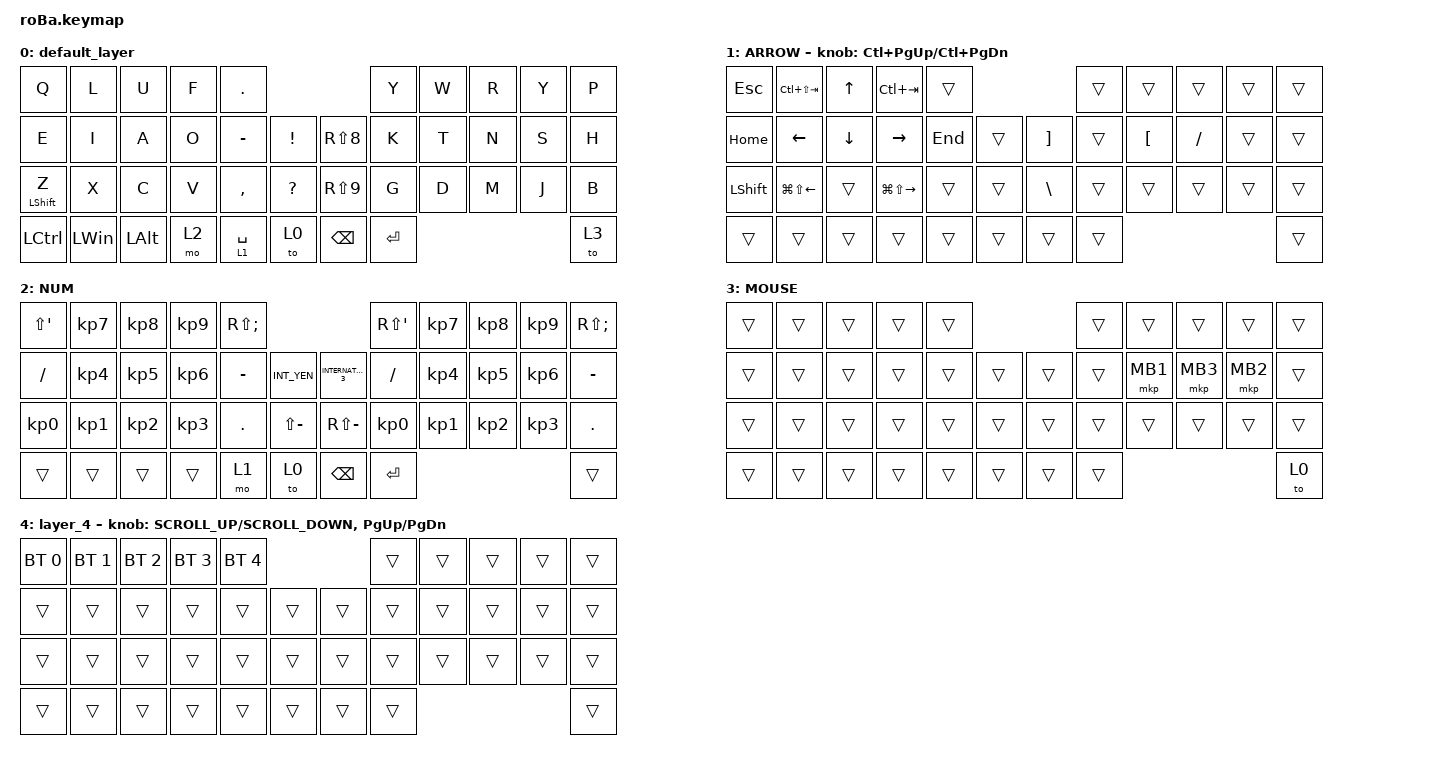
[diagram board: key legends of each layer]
#include <behaviors.dtsi>
#include <dt-bindings/zmk/bt.h>
#include <dt-bindings/zmk/keys.h>
#include <dt-bindings/zmk/pointing.h>

&mt {
    flavor = "balanced";
    quick-tap-ms = <0>;
};

&trackball {
    automouse-layer = <4>;
    scroll-layers = <5>;

    // arrows {
    //     layers = <3>;
    //     bindings =
    //         <&kp RIGHT_ARROW>,
    //         <&kp LEFT_ARROW>,
    //         <&kp UP_ARROW>,
    //         <&kp DOWN_ARROW>;
    //     tick = <10>;
    //     wait-ms = <5>;
    //     tap-ms = <5>;
    // };
};

/ {
    combos {
        compatible = "zmk,combos";

        eisuu {
            bindings = <&kp INT_MUHENKAN>;
            key-positions = <12 13>;
        };

        kana {
            bindings = <&kp INT_HENKAN>;
            key-positions = <18 19>;
        };

        laye2 {
            bindings = <&to 2>;
            key-positions = <36 37>;
        };

        layer1 {
            bindings = <&to 1>;
            key-positions = <36 38>;
        };
    };

    macros {
        to_layer_0: to_layer_0 {
            compatible = "zmk,behavior-macro-one-param";
            #binding-cells = <1>;
            bindings = <&to 0 &macro_param_1to1 &kp MACRO_PLACEHOLDER>;
            label = "TO_LAYER_0";
        };
    };

    behaviors {
        lt_to_layer_0: lt_to_layer_0 {
            compatible = "zmk,behavior-hold-tap";
            label = "LAYER_TAP_TO_0";
            bindings = <&mo>, <&to_layer_0>;

            #binding-cells = <2>;
            tapping-term-ms = <200>;
        };
    };

    keymap {
        compatible = "zmk,keymap";

        default_layer {
            bindings = <
&kp Q        &kp L         &kp U         &kp F  &kp PERIOD                                       &kp Y      &kp W  &kp R  &kp Y  &kp P
&kp E        &kp I         &kp A         &kp O  &kp MINUS    &kp EXCL          &kp RS(NUMBER_8)  &kp K      &kp T  &kp N  &kp S  &kp H
&mt LSHFT Z  &kp X         &kp C         &kp V  &kp COMMA    &kp QUESTION      &kp RS(NUMBER_9)  &kp G      &kp D  &kp M  &kp J  &kp B
&kp LCTRL    &kp LEFT_WIN  &kp LEFT_ALT  &mo 2  &lt 1 SPACE  &to 0             &kp BACKSPACE     &kp ENTER                       &to 3
            >;
        };

        ARROW {
            bindings = <
&kp ESCAPE      &kp LC(LS(TAB))         &kp UP_ARROW    &kp LC(TAB)              &trans                                  &trans  &trans            &trans     &trans  &trans
&kp HOME        &kp LEFT_ARROW          &kp DOWN_ARROW  &kp RIGHT_ARROW          &kp END  &trans      &kp RIGHT_BRACKET  &trans  &kp LEFT_BRACKET  &kp SLASH  &trans  &trans
&kp LEFT_SHIFT  &kp LG(LS(LEFT_ARROW))  &trans          &kp LG(LS(RIGHT_ARROW))  &trans   &trans      &kp BACKSLASH      &trans  &trans            &trans     &trans  &trans
&trans          &trans                  &trans          &trans                   &trans   &trans      &trans             &trans                                       &trans
            >;

            sensor-bindings = <&inc_dec_kp LC(PAGE_UP) LC(PAGE_DOWN)>;
        };

        NUM {
            bindings = <
&kp LS(SINGLE_QUOTE)  &kp KP_NUMBER_7  &kp KP_NUMBER_8  &kp KP_NUMBER_9  &kp RS(SEMICOLON)                                          &kp RS(SINGLE_QUOTE)  &kp KP_NUMBER_7  &kp KP_NUMBER_8  &kp KP_NUMBER_9  &kp RS(SEMICOLON)
&kp SLASH             &kp KP_NUMBER_4  &kp KP_NUMBER_5  &kp KP_NUMBER_6  &kp MINUS          &kp INT_YEN        &kp INTERNATIONAL_3  &kp SLASH             &kp KP_NUMBER_4  &kp KP_NUMBER_5  &kp KP_NUMBER_6  &kp MINUS
&kp KP_NUMBER_0       &kp KP_NUMBER_1  &kp KP_NUMBER_2  &kp KP_NUMBER_3  &kp PERIOD         &kp LS(MINUS)      &kp RS(MINUS)        &kp KP_NUMBER_0       &kp KP_NUMBER_1  &kp KP_NUMBER_2  &kp KP_NUMBER_3  &kp DOT
&trans                &trans           &trans           &trans           &mo 1              &to 0              &kp BACKSPACE        &kp ENTER                                                                &trans
            >;
        };

        MOUSE {
            bindings = <
&trans  &trans  &trans  &trans  &trans                      &trans  &trans    &trans    &trans    &trans
&trans  &trans  &trans  &trans  &trans  &trans      &trans  &trans  &mkp MB1  &mkp MB3  &mkp MB2  &trans
&trans  &trans  &trans  &trans  &trans  &trans      &trans  &trans  &trans    &trans    &trans    &trans
&trans  &trans  &trans  &trans  &trans  &trans      &trans  &trans                                &to 0
            >;
        };

        layer_4 {
            bindings = <
&bt BT_SEL 0  &bt BT_SEL 1  &bt BT_SEL 2  &bt BT_SEL 3  &bt BT_SEL 4                      &trans  &trans  &trans  &trans  &trans
&trans        &trans        &trans        &trans        &trans        &trans      &trans  &trans  &trans  &trans  &trans  &trans
&trans        &trans        &trans        &trans        &trans        &trans      &trans  &trans  &trans  &trans  &trans  &trans
&trans        &trans        &trans        &trans        &trans        &trans      &trans  &trans                          &trans
            >;

            sensor-bindings =
                <&inc_dec_kp K_SCROLL_UP K_SCROLL_DOWN>,
                <&inc_dec_kp PG_UP PAGE_DOWN>;
        };
    };
};
